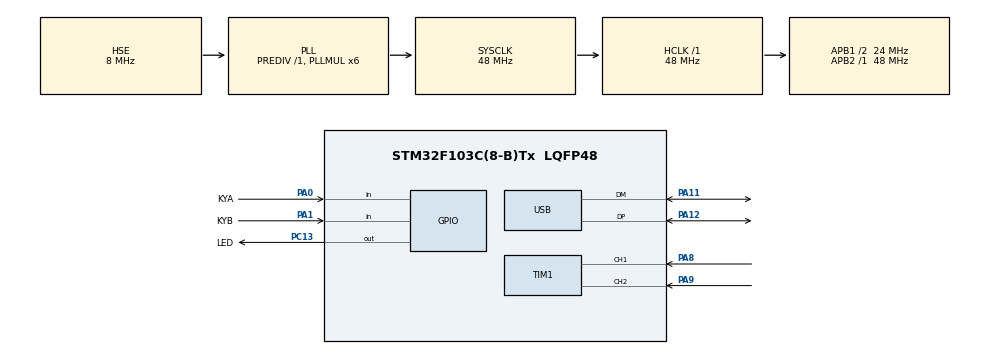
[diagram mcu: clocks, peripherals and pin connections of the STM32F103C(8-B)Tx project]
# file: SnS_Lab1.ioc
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Mcu.Family=STM32F1
Mcu.Name=STM32F103C(8-B)Tx
Mcu.Package=LQFP48
NVIC.PriorityGroup=NVIC_PRIORITYGROUP_4
NVIC.USB_LP_CAN1_RX0_IRQn=true\:0\:0\:false\:false\:true\:false\:true\:true
PA0-WKUP.GPIO_Label=KYA
PA0-WKUP.Signal=GPIO_Input
PA1.GPIO_Label=KYB
PA1.Signal=GPIO_Input
PA11.Mode=Device
PA11.Signal=USB_DM
PA12.Mode=Device
PA12.Signal=USB_DP
PA13.Mode=Serial_Wire
PA13.Signal=SYS_JTMS-SWDIO
PA14.Mode=Serial_Wire
PA14.Signal=SYS_JTCK-SWCLK
PA8.Signal=S_TIM1_CH1
PA9.Signal=S_TIM1_CH2
PC13-TAMPER-RTC.GPIO_Label=LED
PC13-TAMPER-RTC.Signal=GPIO_Output
PD0-OSC_IN.Mode=HSE-External-Oscillator
PD0-OSC_IN.Signal=RCC_OSC_IN
PD1-OSC_OUT.Mode=HSE-External-Oscillator
PD1-OSC_OUT.Signal=RCC_OSC_OUT
ProjectManager.HeapSize=0x200
ProjectManager.StackSize=0x400
ProjectManager.TargetToolchain=STM32CubeIDE
RCC.AHBFreq_Value=48000000
RCC.APB1CLKDivider=RCC_HCLK_DIV2
RCC.APB1Freq_Value=24000000
RCC.APB1TimFreq_Value=48000000
RCC.APB2Freq_Value=48000000
RCC.APB2TimFreq_Value=48000000
RCC.HCLKFreq_Value=48000000
RCC.PLLMUL=RCC_PLL_MUL6
RCC.SYSCLKFreq_VALUE=48000000
RCC.SYSCLKSource=RCC_SYSCLKSOURCE_PLLCLK
RCC.USBFreq_Value=48000000
SH.S_TIM1_CH1.0=TIM1_CH1,Encoder_Interface
SH.S_TIM1_CH2.0=TIM1_CH2,Encoder_Interface
TIM1.AutoReloadPreload=TIM_AUTORELOAD_PRELOAD_ENABLE
TIM1.IC1Filter=6
TIM1.IC2Filter=6
TIM1.IC2Polarity=TIM_ICPOLARITY_RISING
USB_DEVICE.CLASS_NAME_FS=CDC
USB_DEVICE.VirtualMode=Cdc
USB_DEVICE.VirtualModeFS=Cdc_FS
VP_USB_DEVICE_VS_USB_DEVICE_CDC_FS.Mode=CDC_FS
board=custom

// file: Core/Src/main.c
/* USER CODE BEGIN Header */
/**
  ******************************************************************************
  * @file           : main.c
  * @brief          : Main program body
  ******************************************************************************
  * @attention3
  *
  * Copyright (c) 2025 STMicroelectronics.
  * All rights reserved.
  *
  * This software is licensed under terms that can be found in the LICENSE file
  * in the root directory of this software component.
  * If no LICENSE file comes with this software, it is provided AS-IS.
  *
  ******************************************************************************
  */
/* USER CODE END Header */
#include "main.h"
#include "usb_device.h"

/* USER CODE BEGIN Includes */

#include "usbd_cdc_if.h"
#include "stdio.h"

/* USER CODE END Includes */

/* USER CODE BEGIN PM */

#define STEP_PER_REV (20.)
#define PHASE_PER_STEP (4.)
#define PI (3.1415926535)

/* USER CODE END PM */

TIM_HandleTypeDef htim1;

/* USER CODE BEGIN PV */

uint8_t data_a = 0, data_b = 0;
extern uint8_t UserTxBufferFS[APP_TX_DATA_SIZE];

/* USER CODE END PV */

void SystemClock_Config(void);
static void MX_GPIO_Init(void);
static void MX_TIM1_Init(void);

/* USER CODE BEGIN 0 */

uint8_t state_a = 0;
uint8_t state_b = 0;
int64_t pos = 0;
double angle = 0;

void update_encoder(uint8_t new_a, uint8_t new_b)
{
	//if((new_a == state_a) && (new_b == state_b)) return;
	pos += (new_a == state_b) - (new_b == state_a);
	angle = (double)(pos) * 2. * PI / PHASE_PER_STEP / STEP_PER_REV;

	state_a = new_a;
	state_b = new_b;
}

/* USER CODE END 0 */

int main(void)
{

  /* MCU Configuration--------------------------------------------------------*/

  /* Reset of all peripherals, Initializes the Flash interface and the Systick. */
  HAL_Init();

  /* Configure the system clock */
  SystemClock_Config();

  /* Initialize all configured peripherals */
  MX_GPIO_Init();
  MX_USB_DEVICE_Init();
  MX_TIM1_Init();

  /* Infinite loop */
  /* USER CODE BEGIN WHILE */
  uint32_t last_send = HAL_GetTick();
  while (1)
  {
  	update_encoder(
  			HAL_GPIO_ReadPin(KYA_GPIO_Port, KYA_Pin),
				HAL_GPIO_ReadPin(KYB_GPIO_Port, KYB_Pin)
  	);

  	if(HAL_GetTick() != last_send)
  	{
      sprintf((char*)UserTxBufferFS, "%d,%d,%f\n", state_a, state_b, angle);
      CDC_Transmit_FS(UserTxBufferFS, strlen(UserTxBufferFS));
      last_send+=1;
  	}
    //HAL_Delay(1000);

    /* USER CODE END WHILE */

  }
}

void SystemClock_Config(void)
{
  RCC_OscInitTypeDef RCC_OscInitStruct = {0};
  RCC_ClkInitTypeDef RCC_ClkInitStruct = {0};
  RCC_PeriphCLKInitTypeDef PeriphClkInit = {0};

  /** Initializes the RCC Oscillators according to the specified parameters
  * in the RCC_OscInitTypeDef structure.
  */
  RCC_OscInitStruct.OscillatorType = RCC_OSCILLATORTYPE_HSE;
  RCC_OscInitStruct.HSEState = RCC_HSE_ON;
  RCC_OscInitStruct.HSEPredivValue = RCC_HSE_PREDIV_DIV1;
  RCC_OscInitStruct.HSIState = RCC_HSI_ON;
  RCC_OscInitStruct.PLL.PLLState = RCC_PLL_ON;
  RCC_OscInitStruct.PLL.PLLSource = RCC_PLLSOURCE_HSE;
  RCC_OscInitStruct.PLL.PLLMUL = RCC_PLL_MUL6;
  if (HAL_RCC_OscConfig(&RCC_OscInitStruct) != HAL_OK)
  {
    Error_Handler();
  }

  /** Initializes the CPU, AHB and APB buses clocks
  */
  RCC_ClkInitStruct.ClockType = RCC_CLOCKTYPE_HCLK|RCC_CLOCKTYPE_SYSCLK
                              |RCC_CLOCKTYPE_PCLK1|RCC_CLOCKTYPE_PCLK2;
  RCC_ClkInitStruct.SYSCLKSource = RCC_SYSCLKSOURCE_PLLCLK;
  RCC_ClkInitStruct.AHBCLKDivider = RCC_SYSCLK_DIV1;
  RCC_ClkInitStruct.APB1CLKDivider = RCC_HCLK_DIV2;
  RCC_ClkInitStruct.APB2CLKDivider = RCC_HCLK_DIV1;

  if (HAL_RCC_ClockConfig(&RCC_ClkInitStruct, FLASH_LATENCY_1) != HAL_OK)
  {
    Error_Handler();
  }
  PeriphClkInit.PeriphClockSelection = RCC_PERIPHCLK_USB;
  PeriphClkInit.UsbClockSelection = RCC_USBCLKSOURCE_PLL;
  if (HAL_RCCEx_PeriphCLKConfig(&PeriphClkInit) != HAL_OK)
  {
    Error_Handler();
  }
}

static void MX_TIM1_Init(void)
{

  TIM_Encoder_InitTypeDef sConfig = {0};
  TIM_MasterConfigTypeDef sMasterConfig = {0};

  htim1.Instance = TIM1;
  htim1.Init.Prescaler = 0;
  htim1.Init.CounterMode = TIM_COUNTERMODE_UP;
  htim1.Init.Period = 65535;
  htim1.Init.ClockDivision = TIM_CLOCKDIVISION_DIV1;
  htim1.Init.RepetitionCounter = 0;
  htim1.Init.AutoReloadPreload = TIM_AUTORELOAD_PRELOAD_ENABLE;
  sConfig.EncoderMode = TIM_ENCODERMODE_TI1;
  sConfig.IC1Polarity = TIM_ICPOLARITY_RISING;
  sConfig.IC1Selection = TIM_ICSELECTION_DIRECTTI;
  sConfig.IC1Prescaler = TIM_ICPSC_DIV1;
  sConfig.IC1Filter = 6;
  sConfig.IC2Polarity = TIM_ICPOLARITY_RISING;
  sConfig.IC2Selection = TIM_ICSELECTION_DIRECTTI;
  sConfig.IC2Prescaler = TIM_ICPSC_DIV1;
  sConfig.IC2Filter = 6;
  if (HAL_TIM_Encoder_Init(&htim1, &sConfig) != HAL_OK)
  {
    Error_Handler();
  }
  sMasterConfig.MasterOutputTrigger = TIM_TRGO_RESET;
  sMasterConfig.MasterSlaveMode = TIM_MASTERSLAVEMODE_DISABLE;
  if (HAL_TIMEx_MasterConfigSynchronization(&htim1, &sMasterConfig) != HAL_OK)
  {
    Error_Handler();
  }

}

static void MX_GPIO_Init(void)
{
  GPIO_InitTypeDef GPIO_InitStruct = {0};

  /* GPIO Ports Clock Enable */
  __HAL_RCC_GPIOC_CLK_ENABLE();
  __HAL_RCC_GPIOD_CLK_ENABLE();
  __HAL_RCC_GPIOA_CLK_ENABLE();

  /*Configure GPIO pin Output Level */
  HAL_GPIO_WritePin(LED_GPIO_Port, LED_Pin, GPIO_PIN_RESET);

  /*Configure GPIO pin : LED_Pin */
  GPIO_InitStruct.Pin = LED_Pin;
  GPIO_InitStruct.Mode = GPIO_MODE_OUTPUT_PP;
  GPIO_InitStruct.Pull = GPIO_NOPULL;
  GPIO_InitStruct.Speed = GPIO_SPEED_FREQ_LOW;
  HAL_GPIO_Init(LED_GPIO_Port, &GPIO_InitStruct);

  /*Configure GPIO pins : KYA_Pin KYB_Pin */
  GPIO_InitStruct.Pin = KYA_Pin|KYB_Pin;
  GPIO_InitStruct.Mode = GPIO_MODE_INPUT;
  GPIO_InitStruct.Pull = GPIO_NOPULL;
  HAL_GPIO_Init(GPIOA, &GPIO_InitStruct);

}

void Error_Handler(void)
{
  __disable_irq();
  while (1)
  {
  }
}
